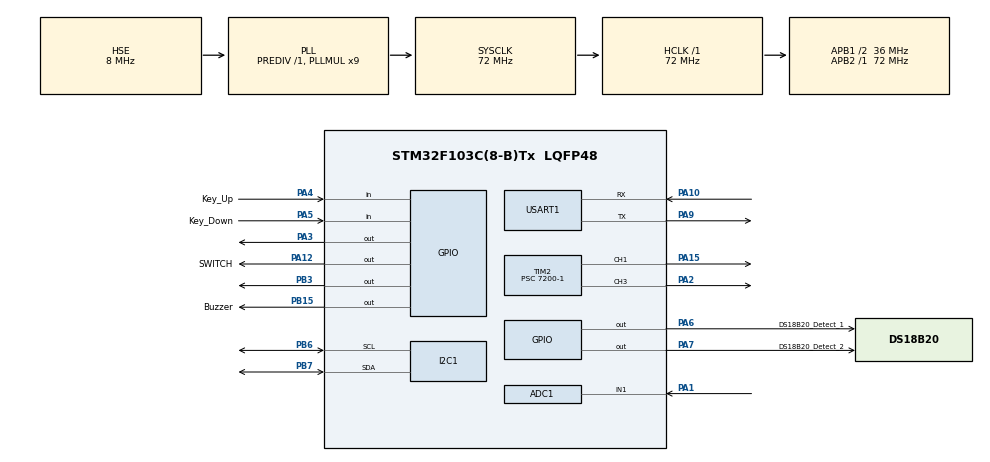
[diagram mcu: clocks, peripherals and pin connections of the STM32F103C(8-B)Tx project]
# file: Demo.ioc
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ADC1.Channel-0\#ChannelRegularConversion=ADC_CHANNEL_1
ADC1.NbrOfConversionFlag=1
ADC1.Rank-0\#ChannelRegularConversion=1
ADC1.SamplingTime-0\#ChannelRegularConversion=ADC_SAMPLETIME_1CYCLE_5
ADC1.master=1
Mcu.Family=STM32F1
Mcu.Name=STM32F103C(8-B)Tx
Mcu.Package=LQFP48
NVIC.PriorityGroup=NVIC_PRIORITYGROUP_4
PA1.Signal=ADCx_IN1
PA10.Mode=Asynchronous
PA10.Signal=USART1_RX
PA12.GPIO_Label=SWITCH
PA12.GPIO_PuPd=GPIO_PULLDOWN
PA12.GPIO_Speed=GPIO_SPEED_FREQ_HIGH
PA12.Signal=GPIO_Output
PA13.Mode=Serial_Wire
PA13.Signal=SYS_JTMS-SWDIO
PA14.Mode=Serial_Wire
PA14.Signal=SYS_JTCK-SWCLK
PA15.Signal=S_TIM2_CH1_ETR
PA2.Signal=S_TIM2_CH3
PA3.GPIO_PuPd=GPIO_PULLDOWN
PA3.Signal=GPIO_Output
PA4.GPIO_Label=Key_Up
PA4.GPIO_PuPd=GPIO_PULLUP
PA4.Signal=GPIO_Input
PA5.GPIO_Label=Key_Down
PA5.GPIO_PuPd=GPIO_PULLUP
PA5.Signal=GPIO_Input
PA6.GPIO_Label=DS18B20_Detect_1
PA6.GPIO_PuPd=GPIO_PULLUP
PA6.GPIO_Speed=GPIO_SPEED_FREQ_HIGH
PA6.Signal=GPIO_Output
PA7.GPIO_Label=DS18B20_Detect_2
PA7.GPIO_PuPd=GPIO_PULLUP
PA7.GPIO_Speed=GPIO_SPEED_FREQ_HIGH
PA7.Signal=GPIO_Output
PA9.Mode=Asynchronous
PA9.Signal=USART1_TX
PB15.GPIO_Label=Buzzer
PB15.GPIO_PuPd=GPIO_PULLDOWN
PB15.Signal=GPIO_Output
PB3.GPIO_PuPd=GPIO_PULLDOWN
PB3.Signal=GPIO_Output
PB6.Mode=I2C
PB6.Signal=I2C1_SCL
PB7.Mode=I2C
PB7.Signal=I2C1_SDA
PC14-OSC32_IN.Mode=LSE-External-Oscillator
PC14-OSC32_IN.Signal=RCC_OSC32_IN
PC15-OSC32_OUT.Mode=LSE-External-Oscillator
PC15-OSC32_OUT.Signal=RCC_OSC32_OUT
PD0-OSC_IN.Mode=HSE-External-Oscillator
PD0-OSC_IN.Signal=RCC_OSC_IN
PD1-OSC_OUT.Mode=HSE-External-Oscillator
PD1-OSC_OUT.Signal=RCC_OSC_OUT
ProjectManager.HeapSize=0x200
ProjectManager.StackSize=0x400
ProjectManager.TargetToolchain=MDK-ARM V5
RCC.ADCPresc=RCC_ADCPCLK2_DIV6
RCC.AHBFreq_Value=72000000
RCC.APB1CLKDivider=RCC_HCLK_DIV2
RCC.APB1Freq_Value=36000000
RCC.APB1TimFreq_Value=72000000
RCC.APB2Freq_Value=72000000
RCC.APB2TimFreq_Value=72000000
RCC.HCLKFreq_Value=72000000
RCC.PLLMUL=RCC_PLL_MUL9
RCC.PLLSourceVirtual=RCC_PLLSOURCE_HSE
RCC.SYSCLKFreq_VALUE=72000000
RCC.SYSCLKSource=RCC_SYSCLKSOURCE_PLLCLK
RCC.USBFreq_Value=72000000
SH.ADCx_IN1.0=ADC1_IN1,IN1
SH.S_TIM2_CH1_ETR.0=TIM2_CH1,PWM Generation1 CH1
SH.S_TIM2_CH3.0=TIM2_CH3,PWM Generation3 CH3
TIM2.Channel-PWM\ Generation1\ CH1=TIM_CHANNEL_1
TIM2.Channel-PWM\ Generation3\ CH3=TIM_CHANNEL_3
TIM2.Period=100
TIM2.Prescaler=7200-1
TIM2.Pulse-PWM\ Generation1\ CH1=50
TIM2.Pulse-PWM\ Generation3\ CH3=50
TIM3.Prescaler=72
USART1.VirtualMode=VM_ASYNC
VP_TIM2_VS_ClockSourceINT.Mode=Internal
VP_TIM3_VS_ClockSourceINT.Mode=Internal
board=custom

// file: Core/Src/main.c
/* USER CODE BEGIN Header */
/**
  ******************************************************************************
  * @file           : main.c
  * @brief          : Main program body
  ******************************************************************************
  * @attention
  *
  * <h2><center>&copy; Copyright (c) 2021 STMicroelectronics.
  * All rights reserved.</center></h2>
  *
  * This software component is licensed by ST under BSD 3-Clause license,
  * the "License"; You may not use this file except in compliance with the
  * License. You may obtain a copy of the License at:
  *                        opensource.org/licenses/BSD-3-Clause
  *
  ******************************************************************************
  */
/* USER CODE END Header */
#include "main.h"
#include "adc.h"
#include "i2c.h"
#include "tim.h"
#include "usart.h"
#include "gpio.h"

/* USER CODE BEGIN Includes */
#include "ds18b20.h"
#include "oled.h"
#include "stdio.h"
/* USER CODE END Includes */

void SystemClock_Config(void);

int main(void)
{
  /* USER CODE BEGIN 1 */
	uint8_t x = 0;//屏幕字符横坐标
	uint8_t y = 0;//屏幕字符纵坐标

	float Temprature_Value;//温度值

	int Temprature_Value_Integer;//温度值整数位
	int Temprature_Value_Decimal;//温度值小数位

	float Temprature_Threshold_Low = 5;//温度值下限
	float Temprature_Threshold_High = 30;//温度值上限
  /* USER CODE END 1 */

  /* MCU Configuration--------------------------------------------------------*/

  /* Reset of all peripherals, Initializes the Flash interface and the Systick. */
  HAL_Init();

  /* Configure the system clock */
  SystemClock_Config();

  /* Initialize all configured peripherals */
  MX_GPIO_Init();
  MX_ADC1_Init();
  MX_I2C1_Init();
  MX_TIM2_Init();
  MX_TIM3_Init();
  MX_USART1_UART_Init();
  /* USER CODE BEGIN 2 */
	OLED_Init();//OLED屏幕初始化
	OLED_Clear();//OLED清屏

	//汉字显示
	OLED_ShowChinese(x + 32, y, 0);//测
	OLED_ShowChinese(x + 32 + 16 * 1, y, 1);//温
	OLED_ShowChinese(x + 32 + 16 * 2, y, 2);//系
	OLED_ShowChinese(x + 32 + 16 * 3, y, 3);//统

	OLED_ShowChinese(x, y + 2 * 1, 4);//当
	OLED_ShowChinese(x + 16 * 1, y + 2 * 1, 5);//前
	OLED_ShowChinese(x + 16 * 2, y + 2 * 1, 6);//温
	OLED_ShowChinese(x + 16 * 3, y + 2 * 1, 7);//度
	OLED_ShowChar(x + 16 * 4, y + 2 * 1, ':', 16);//冒号

	OLED_ShowChinese(x, y + 2 * 2, 6);//温
	OLED_ShowChinese(x + 16 * 1, y + 2 * 2, 7);//度
	OLED_ShowChinese(x + 16 * 2, y + 2 * 2, 8);//上
	OLED_ShowChinese(x + 16 * 3, y + 2 * 2, 9);//限
	OLED_ShowChar(x + 16 * 4, y + 2 * 2, ':', 16);//冒号

	OLED_ShowChinese(x, y + 2 * 3, 6);//温
	OLED_ShowChinese(x + 16 * 1, y + 2 * 3, 7);//度
	OLED_ShowChinese(x + 16 * 2, y + 2 * 3, 10);//下
	OLED_ShowChinese(x + 16 * 3, y + 2 * 3, 11);//限
	OLED_ShowChar(x + 16 * 4, y + 2 * 3, ':', 16);//冒号
  /* USER CODE END 2 */

  /* Infinite loop */
  /* USER CODE BEGIN WHILE */
  while (1)
  {
		Temprature_Value = DS18B20_1_GetTemperture();//获取温度值
		Temprature_Value_Integer = (int)Temprature_Value;//强制转换，获取整数位
		Temprature_Value_Decimal = 10 * (Temprature_Value - (int)Temprature_Value);//获取小数位

		OLED_ShowNum(x + 16 * 5, y + 2 * 1, Temprature_Value_Integer, 2, 16);//整数位显示
		OLED_ShowChar(x + 16 * 6, y + 2 * 1, '.', 16);
		OLED_ShowNum(x + 13 * 8, y + 2 * 1, Temprature_Value_Decimal, 1, 16);//小数位显示
		OLED_ShowChar(x + 14 * 8, y + 2 * 1, 'C', 16);
		HAL_Delay(1000);

		OLED_ShowNum(x + 16 * 5, y + 2 * 2, Temprature_Threshold_High, 2, 16);//温度上限
		OLED_ShowChar(x + 16 * 6, y + 2 * 2, 'C', 16);
		OLED_ShowNum(x + 16 * 5, y + 2 * 3, Temprature_Threshold_Low, 2, 16);//温度下限
		OLED_ShowChar(x + 16 * 6, y + 2 * 3, 'C', 16);
		HAL_Delay(1000);

		if(Temprature_Value>Temprature_Threshold_High || Temprature_Value<Temprature_Threshold_Low)
		{
			HAL_GPIO_WritePin(Buzzer_GPIO_Port, Buzzer_Pin, GPIO_PIN_SET);//蜂鸣器函数使能
		}

		if(HAL_GPIO_ReadPin(Key_Up_GPIO_Port, Key_Up_Pin) == GPIO_PIN_RESET)
		{
			Temprature_Threshold_High+=2;//按键调整温度上限
		}
		else if(HAL_GPIO_ReadPin(Key_Down_GPIO_Port, Key_Down_Pin) == GPIO_PIN_RESET)
		{
			Temprature_Threshold_Low-=2;//按键调整温度下限
		}
    /* USER CODE END WHILE */

	}
}

void SystemClock_Config(void)
{
  RCC_OscInitTypeDef RCC_OscInitStruct = {0};
  RCC_ClkInitTypeDef RCC_ClkInitStruct = {0};
  RCC_PeriphCLKInitTypeDef PeriphClkInit = {0};

  /** Initializes the RCC Oscillators according to the specified parameters
  * in the RCC_OscInitTypeDef structure.
  */
  RCC_OscInitStruct.OscillatorType = RCC_OSCILLATORTYPE_HSE;
  RCC_OscInitStruct.HSEState = RCC_HSE_ON;
  RCC_OscInitStruct.HSEPredivValue = RCC_HSE_PREDIV_DIV1;
  RCC_OscInitStruct.HSIState = RCC_HSI_ON;
  RCC_OscInitStruct.PLL.PLLState = RCC_PLL_ON;
  RCC_OscInitStruct.PLL.PLLSource = RCC_PLLSOURCE_HSE;
  RCC_OscInitStruct.PLL.PLLMUL = RCC_PLL_MUL9;
  if (HAL_RCC_OscConfig(&RCC_OscInitStruct) != HAL_OK)
  {
    Error_Handler();
  }
  /** Initializes the CPU, AHB and APB buses clocks
  */
  RCC_ClkInitStruct.ClockType = RCC_CLOCKTYPE_HCLK|RCC_CLOCKTYPE_SYSCLK
                              |RCC_CLOCKTYPE_PCLK1|RCC_CLOCKTYPE_PCLK2;
  RCC_ClkInitStruct.SYSCLKSource = RCC_SYSCLKSOURCE_PLLCLK;
  RCC_ClkInitStruct.AHBCLKDivider = RCC_SYSCLK_DIV1;
  RCC_ClkInitStruct.APB1CLKDivider = RCC_HCLK_DIV2;
  RCC_ClkInitStruct.APB2CLKDivider = RCC_HCLK_DIV1;

  if (HAL_RCC_ClockConfig(&RCC_ClkInitStruct, FLASH_LATENCY_2) != HAL_OK)
  {
    Error_Handler();
  }
  PeriphClkInit.PeriphClockSelection = RCC_PERIPHCLK_ADC;
  PeriphClkInit.AdcClockSelection = RCC_ADCPCLK2_DIV6;
  if (HAL_RCCEx_PeriphCLKConfig(&PeriphClkInit) != HAL_OK)
  {
    Error_Handler();
  }
}

void Error_Handler(void)
{
  __disable_irq();
  while (1)
  {
  }
}

/************************ (C) COPYRIGHT STMicroelectronics *****END OF FILE****/
